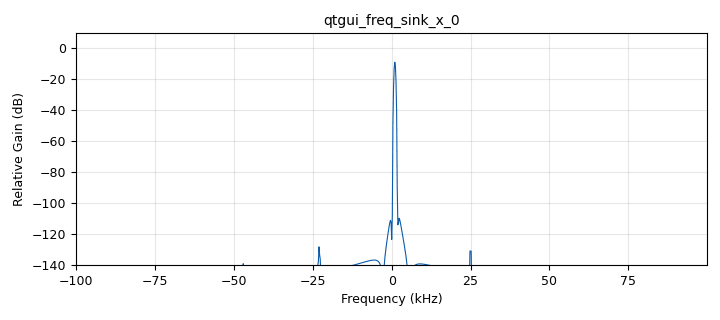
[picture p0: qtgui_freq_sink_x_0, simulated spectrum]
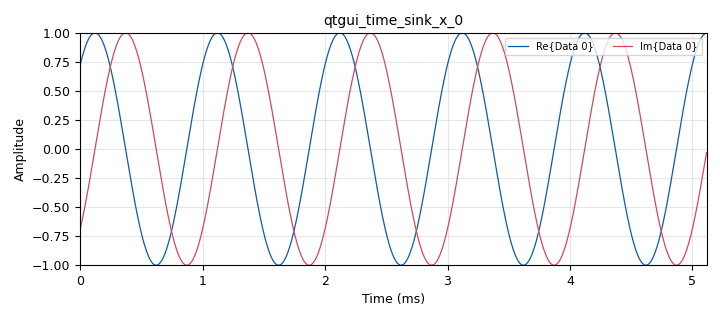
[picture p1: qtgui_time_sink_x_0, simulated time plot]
options:
  parameters:
    author: DAVID_MOSQUERA_2184214_FREDY_LEON_2165543
    generate_options: qt_gui
    id: configuracionUSRP
    output_language: python
    title: Not titled yet
  states: {}

blocks:
- name: A
  id: variable_qtgui_range
  parameters:
    label: Amplitud (A)
    start: '0.1'
    step: '0.1'
    stop: '1'
    value: '1'
  states: {}
- name: GTX
  id: variable_qtgui_range
  parameters:
    label: Ganancia del TX
    start: '0'
    step: '1'
    stop: '30'
    value: '0'
  states: {}
- name: fc
  id: variable_qtgui_range
  parameters:
    label: Frecuencia portadora (fc)
    start: 50e6
    step: 1e6
    stop: 2.2e9
    value: 50e6
  states: {}
- name: samp_rate
  id: variable
  parameters:
    value: '200000'
  states: {}
- name: analog_sig_source_x_0
  id: analog_sig_source_x
  parameters:
    amp: A
    freq: 1E3
    offset: '0'
    phase: '0'
    samp_rate: samp_rate
    type: complex
    waveform: analog.GR_COS_WAVE
  states: {}
- name: qtgui_freq_sink_x_0
  id: qtgui_freq_sink_x
  parameters:
    bw: samp_rate
    fc: '0'
    fftsize: '1024'
    type: complex
  states: {}
- name: qtgui_time_sink_x_0
  id: qtgui_time_sink_x
  parameters:
    size: '1024'
    srate: samp_rate
    type: complex
  states: {}
- name: uhd_usrp_sink_0
  id: uhd_usrp_sink
  parameters:
    ant0: '"TX/RX"'
    center_freq0: fc
    gain0: GTX
    samp_rate: samp_rate
    sync: pc_clock
    type: fc32
  states: {}

connections:
- [analog_sig_source_x_0, '0', qtgui_freq_sink_x_0, '0']
- [analog_sig_source_x_0, '0', qtgui_time_sink_x_0, '0']
- [analog_sig_source_x_0, '0', uhd_usrp_sink_0, '0']

metadata:
  file_format: 1
  grc_version: 3.10.5.1
